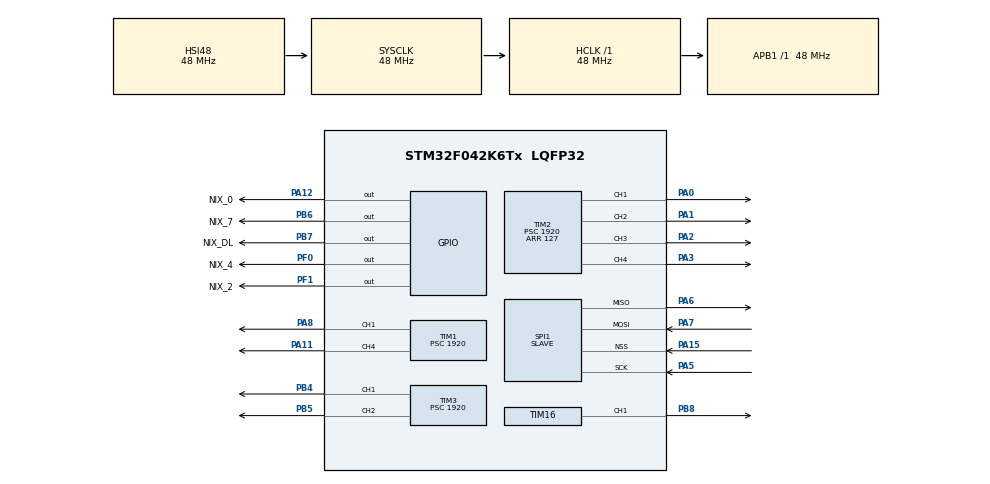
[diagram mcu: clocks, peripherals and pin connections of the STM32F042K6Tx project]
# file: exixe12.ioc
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Dma.Request0=SPI1_RX
Dma.SPI1_RX.0.Direction=DMA_PERIPH_TO_MEMORY
Dma.SPI1_RX.0.Instance=DMA1_Channel2
Dma.SPI1_RX.0.MemDataAlignment=DMA_MDATAALIGN_BYTE
Dma.SPI1_RX.0.MemInc=DMA_MINC_ENABLE
Dma.SPI1_RX.0.Mode=DMA_NORMAL
Dma.SPI1_RX.0.PeriphDataAlignment=DMA_PDATAALIGN_BYTE
Dma.SPI1_RX.0.PeriphInc=DMA_PINC_DISABLE
Dma.SPI1_RX.0.Priority=DMA_PRIORITY_HIGH
Mcu.Family=STM32F0
Mcu.Name=STM32F042K6Tx
Mcu.Package=LQFP32
NVIC.DMA1_Channel2_3_IRQn=true\:0\:0\:false\:false\:true
NVIC.TIM17_IRQn=true\:3\:0\:true\:false\:true
PA0.Signal=S_TIM2_CH1_ETR
PA1.Signal=S_TIM2_CH2
PA11.Signal=S_TIM1_CH4
PA12.GPIO_Label=NIX_0
PA12.Signal=GPIO_Output
PA13.Mode=Serial_Wire
PA13.Signal=SYS_SWDIO
PA14.Mode=Serial_Wire
PA14.Signal=SYS_SWCLK
PA15.Mode=NSS_Signal_Hard_Input
PA15.Signal=SPI1_NSS
PA2.Signal=S_TIM2_CH3
PA3.Signal=S_TIM2_CH4
PA5.Mode=Full_Duplex_Slave
PA5.Signal=SPI1_SCK
PA6.Mode=Full_Duplex_Slave
PA6.Signal=SPI1_MISO
PA7.Mode=Full_Duplex_Slave
PA7.Signal=SPI1_MOSI
PA8.Signal=S_TIM1_CH1
PB4.Signal=S_TIM3_CH1
PB5.Signal=S_TIM3_CH2
PB6.GPIO_Label=NIX_7
PB6.Signal=GPIO_Output
PB7.GPIO_Label=NIX_DL
PB7.Signal=GPIO_Output
PB8.Signal=S_TIM16_CH1
PF0-OSC_IN.GPIO_Label=NIX_4
PF0-OSC_IN.Signal=GPIO_Output
PF1-OSC_OUT.GPIO_Label=NIX_2
PF1-OSC_OUT.Signal=GPIO_Output
ProjectManager.HeapSize=0x200
ProjectManager.StackSize=0x400
ProjectManager.TargetToolchain=MDK-ARM V5
RCC.AHBFreq_Value=48000000
RCC.APB1Freq_Value=48000000
RCC.APB1TimFreq_Value=48000000
RCC.HCLKFreq_Value=48000000
RCC.SYSCLKFreq_VALUE=48000000
RCC.SYSCLKSource=RCC_SYSCLKSOURCE_HSI48
SH.S_TIM16_CH1.0=TIM16_CH1,PWM Generation1 CH1
SH.S_TIM1_CH1.0=TIM1_CH1,PWM Generation1 CH1
SH.S_TIM1_CH4.0=TIM1_CH4,PWM Generation4 CH4
SH.S_TIM2_CH1_ETR.0=TIM2_CH1,PWM Generation1 CH1
SH.S_TIM2_CH2.0=TIM2_CH2,PWM Generation2 CH2
SH.S_TIM2_CH3.0=TIM2_CH3,PWM Generation3 CH3
SH.S_TIM2_CH4.0=TIM2_CH4,PWM Generation4 CH4
SH.S_TIM3_CH1.0=TIM3_CH1,PWM Generation1 CH1
SH.S_TIM3_CH2.0=TIM3_CH2,PWM Generation2 CH2
SPI1.DataSize=SPI_DATASIZE_8BIT
SPI1.Direction=SPI_DIRECTION_2LINES
SPI1.Mode=SPI_MODE_SLAVE
SPI1.VirtualNSS=VM_NSSHARD
SPI1.VirtualType=VM_SLAVE
TIM1.Channel-PWM\ Generation1\ CH1=TIM_CHANNEL_1
TIM1.Channel-PWM\ Generation4\ CH4=TIM_CHANNEL_4
TIM1.Period=127
TIM1.Prescaler=1920
TIM16.Channel=TIM_CHANNEL_1
TIM16.Period=127
TIM16.Prescaler=1920
TIM17.Period=10
TIM17.Prescaler=47
TIM2.Channel-PWM\ Generation1\ CH1=TIM_CHANNEL_1
TIM2.Channel-PWM\ Generation2\ CH2=TIM_CHANNEL_2
TIM2.Channel-PWM\ Generation3\ CH3=TIM_CHANNEL_3
TIM2.Channel-PWM\ Generation4\ CH4=TIM_CHANNEL_4
TIM2.Period=127
TIM2.Prescaler=1920
TIM3.Channel-PWM\ Generation1\ CH1=TIM_CHANNEL_1
TIM3.Channel-PWM\ Generation2\ CH2=TIM_CHANNEL_2
TIM3.Period=127
TIM3.Prescaler=1920
VP_TIM16_VS_ClockSourceINT.Mode=Enable_Timer
VP_TIM17_VS_ClockSourceINT.Mode=Enable_Timer
VP_TIM1_VS_ClockSourceINT.Mode=Internal
VP_TIM2_VS_ClockSourceINT.Mode=Internal
VP_TIM3_VS_ClockSourceINT.Mode=Internal
board=exixe12

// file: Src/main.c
/**
  ******************************************************************************
  * File Name          : main.c
  * Description        : Main program body
  ******************************************************************************
  ** This notice applies to any and all portions of this file
  * that are not between comment pairs USER CODE BEGIN and
  * USER CODE END. Other portions of this file, whether
  * inserted by the user or by software development tools
  * are owned by their respective copyright owners.
  *
  * COPYRIGHT(c) 2017 STMicroelectronics
  *
  * Redistribution and use in source and binary forms, with or without modification,
  * are permitted provided that the following conditions are met:
  *   1. Redistributions of source code must retain the above copyright notice,
  *      this list of conditions and the following disclaimer.
  *   2. Redistributions in binary form must reproduce the above copyright notice,
  *      this list of conditions and the following disclaimer in the documentation
  *      and/or other materials provided with the distribution.
  *   3. Neither the name of STMicroelectronics nor the names of its contributors
  *      may be used to endorse or promote products derived from this software
  *      without specific prior written permission.
  *
  * THIS SOFTWARE IS PROVIDED BY THE COPYRIGHT HOLDERS AND CONTRIBUTORS "AS IS"
  * AND ANY EXPRESS OR IMPLIED WARRANTIES, INCLUDING, BUT NOT LIMITED TO, THE
  * IMPLIED WARRANTIES OF MERCHANTABILITY AND FITNESS FOR A PARTICULAR PURPOSE ARE
  * DISCLAIMED. IN NO EVENT SHALL THE COPYRIGHT HOLDER OR CONTRIBUTORS BE LIABLE
  * FOR ANY DIRECT, INDIRECT, INCIDENTAL, SPECIAL, EXEMPLARY, OR CONSEQUENTIAL
  * DAMAGES (INCLUDING, BUT NOT LIMITED TO, PROCUREMENT OF SUBSTITUTE GOODS OR
  * SERVICES; LOSS OF USE, DATA, OR PROFITS; OR BUSINESS INTERRUPTION) HOWEVER
  * CAUSED AND ON ANY THEORY OF LIABILITY, WHETHER IN CONTRACT, STRICT LIABILITY,
  * OR TORT (INCLUDING NEGLIGENCE OR OTHERWISE) ARISING IN ANY WAY OUT OF THE USE
  * OF THIS SOFTWARE, EVEN IF ADVISED OF THE POSSIBILITY OF SUCH DAMAGE.
  *
  ******************************************************************************
  */
#include "main.h"
#include "stm32f0xx_hal.h"

/* USER CODE BEGIN Includes */
#include "shared.h"
#include "helpers.h"
/* USER CODE END Includes */

SPI_HandleTypeDef hspi1;
DMA_HandleTypeDef hdma_spi1_rx;

TIM_HandleTypeDef htim1;
TIM_HandleTypeDef htim2;
TIM_HandleTypeDef htim3;
TIM_HandleTypeDef htim16;
TIM_HandleTypeDef htim17;

/* USER CODE BEGIN PV */
/* Private variables ---------------------------------------------------------*/
uint32_t pwm_soft_counter;
/* USER CODE END PV */

void SystemClock_Config(void);
static void MX_GPIO_Init(void);
static void MX_DMA_Init(void);
static void MX_SPI1_Init(void);
static void MX_TIM1_Init(void);
static void MX_TIM2_Init(void);
static void MX_TIM3_Init(void);
static void MX_TIM16_Init(void);
static void MX_TIM17_Init(void);

void HAL_TIM_MspPostInit(TIM_HandleTypeDef *htim);

/* USER CODE BEGIN PFP */
/* Private function prototypes -----------------------------------------------*/

/* USER CODE END PFP */

int main(void)
{

  /* MCU Configuration----------------------------------------------------------*/

  /* Reset of all peripherals, Initializes the Flash interface and the Systick. */
  HAL_Init();

  /* Configure the system clock */
  SystemClock_Config();

  /* Initialize all configured peripherals */
  MX_GPIO_Init();
  MX_DMA_Init();
  MX_SPI1_Init();
  MX_TIM1_Init();
  MX_TIM2_Init();
  MX_TIM3_Init();
  MX_TIM16_Init();
  MX_TIM17_Init();

  /* Infinite loop */
  /* USER CODE BEGIN WHILE */
  timer_init();
  HAL_TIM_Base_Start(&htim17);
  HAL_TIM_Base_Start_IT(&htim17);
  HAL_Delay(10);
  while (1)
  {
    if(HAL_GPIO_ReadPin(GPIOA, GPIO_PIN_15) == GPIO_PIN_SET)
      HAL_SPI_Receive_DMA(&hspi1, spi_recv_buf, SPI_BUF_SIZE);
  /* USER CODE END WHILE */

  /* USER CODE BEGIN 3 */
    if(pwm_soft_counter < soft_pwm_stat[10])
      HAL_GPIO_WritePin(NIX_0_GPIO_Port, NIX_0_Pin, GPIO_PIN_SET);
    else
      HAL_GPIO_WritePin(NIX_0_GPIO_Port, NIX_0_Pin, GPIO_PIN_RESET);

    if(pwm_soft_counter < soft_pwm_stat[7])
      HAL_GPIO_WritePin(NIX_7_GPIO_Port, NIX_7_Pin, GPIO_PIN_SET);
    else
      HAL_GPIO_WritePin(NIX_7_GPIO_Port, NIX_7_Pin, GPIO_PIN_RESET);

    if(pwm_soft_counter < soft_pwm_stat[4])
      HAL_GPIO_WritePin(NIX_4_GPIO_Port, NIX_4_Pin, GPIO_PIN_SET);
    else
      HAL_GPIO_WritePin(NIX_4_GPIO_Port, NIX_4_Pin, GPIO_PIN_RESET);

    if(pwm_soft_counter < soft_pwm_stat[2])
      HAL_GPIO_WritePin(NIX_2_GPIO_Port, NIX_2_Pin, GPIO_PIN_SET);
    else
      HAL_GPIO_WritePin(NIX_2_GPIO_Port, NIX_2_Pin, GPIO_PIN_RESET);

    if(pwm_soft_counter < soft_pwm_stat[11])
      HAL_GPIO_WritePin(NIX_DL_GPIO_Port, NIX_DL_Pin, GPIO_PIN_SET);
    else
      HAL_GPIO_WritePin(NIX_DL_GPIO_Port, NIX_DL_Pin, GPIO_PIN_RESET);
  }
  /* USER CODE END 3 */

}

/** System Clock Configuration
*/
void SystemClock_Config(void)
{

  RCC_OscInitTypeDef RCC_OscInitStruct;
  RCC_ClkInitTypeDef RCC_ClkInitStruct;

    /**Initializes the CPU, AHB and APB busses clocks
    */
  RCC_OscInitStruct.OscillatorType = RCC_OSCILLATORTYPE_HSI48;
  RCC_OscInitStruct.HSI48State = RCC_HSI48_ON;
  RCC_OscInitStruct.PLL.PLLState = RCC_PLL_NONE;
  if (HAL_RCC_OscConfig(&RCC_OscInitStruct) != HAL_OK)
  {
    _Error_Handler(__FILE__, __LINE__);
  }

    /**Initializes the CPU, AHB and APB busses clocks
    */
  RCC_ClkInitStruct.ClockType = RCC_CLOCKTYPE_HCLK|RCC_CLOCKTYPE_SYSCLK
                              |RCC_CLOCKTYPE_PCLK1;
  RCC_ClkInitStruct.SYSCLKSource = RCC_SYSCLKSOURCE_HSI48;
  RCC_ClkInitStruct.AHBCLKDivider = RCC_SYSCLK_DIV1;
  RCC_ClkInitStruct.APB1CLKDivider = RCC_HCLK_DIV1;

  if (HAL_RCC_ClockConfig(&RCC_ClkInitStruct, FLASH_LATENCY_1) != HAL_OK)
  {
    _Error_Handler(__FILE__, __LINE__);
  }

    /**Configure the Systick interrupt time
    */
  HAL_SYSTICK_Config(HAL_RCC_GetHCLKFreq()/1000);

    /**Configure the Systick
    */
  HAL_SYSTICK_CLKSourceConfig(SYSTICK_CLKSOURCE_HCLK);

  /* SysTick_IRQn interrupt configuration */
  HAL_NVIC_SetPriority(SysTick_IRQn, 0, 0);
}

/* SPI1 init function */
static void MX_SPI1_Init(void)
{

  hspi1.Instance = SPI1;
  hspi1.Init.Mode = SPI_MODE_SLAVE;
  hspi1.Init.Direction = SPI_DIRECTION_2LINES;
  hspi1.Init.DataSize = SPI_DATASIZE_8BIT;
  hspi1.Init.CLKPolarity = SPI_POLARITY_LOW;
  hspi1.Init.CLKPhase = SPI_PHASE_1EDGE;
  hspi1.Init.NSS = SPI_NSS_HARD_INPUT;
  hspi1.Init.FirstBit = SPI_FIRSTBIT_MSB;
  hspi1.Init.TIMode = SPI_TIMODE_DISABLE;
  hspi1.Init.CRCCalculation = SPI_CRCCALCULATION_DISABLE;
  hspi1.Init.CRCPolynomial = 7;
  hspi1.Init.CRCLength = SPI_CRC_LENGTH_DATASIZE;
  hspi1.Init.NSSPMode = SPI_NSS_PULSE_DISABLE;
  if (HAL_SPI_Init(&hspi1) != HAL_OK)
  {
    _Error_Handler(__FILE__, __LINE__);
  }

}

/* TIM1 init function */
static void MX_TIM1_Init(void)
{

  TIM_ClockConfigTypeDef sClockSourceConfig;
  TIM_MasterConfigTypeDef sMasterConfig;
  TIM_OC_InitTypeDef sConfigOC;
  TIM_BreakDeadTimeConfigTypeDef sBreakDeadTimeConfig;

  htim1.Instance = TIM1;
  htim1.Init.Prescaler = 1920;
  htim1.Init.CounterMode = TIM_COUNTERMODE_UP;
  htim1.Init.Period = 127;
  htim1.Init.ClockDivision = TIM_CLOCKDIVISION_DIV1;
  htim1.Init.RepetitionCounter = 0;
  htim1.Init.AutoReloadPreload = TIM_AUTORELOAD_PRELOAD_DISABLE;
  if (HAL_TIM_Base_Init(&htim1) != HAL_OK)
  {
    _Error_Handler(__FILE__, __LINE__);
  }

  sClockSourceConfig.ClockSource = TIM_CLOCKSOURCE_INTERNAL;
  if (HAL_TIM_ConfigClockSource(&htim1, &sClockSourceConfig) != HAL_OK)
  {
    _Error_Handler(__FILE__, __LINE__);
  }

  if (HAL_TIM_PWM_Init(&htim1) != HAL_OK)
  {
    _Error_Handler(__FILE__, __LINE__);
  }

  sMasterConfig.MasterOutputTrigger = TIM_TRGO_RESET;
  sMasterConfig.MasterSlaveMode = TIM_MASTERSLAVEMODE_DISABLE;
  if (HAL_TIMEx_MasterConfigSynchronization(&htim1, &sMasterConfig) != HAL_OK)
  {
    _Error_Handler(__FILE__, __LINE__);
  }

  sConfigOC.OCMode = TIM_OCMODE_PWM1;
  sConfigOC.Pulse = 0;
  sConfigOC.OCPolarity = TIM_OCPOLARITY_HIGH;
  sConfigOC.OCNPolarity = TIM_OCNPOLARITY_HIGH;
  sConfigOC.OCFastMode = TIM_OCFAST_DISABLE;
  sConfigOC.OCIdleState = TIM_OCIDLESTATE_RESET;
  sConfigOC.OCNIdleState = TIM_OCNIDLESTATE_RESET;
  if (HAL_TIM_PWM_ConfigChannel(&htim1, &sConfigOC, TIM_CHANNEL_1) != HAL_OK)
  {
    _Error_Handler(__FILE__, __LINE__);
  }

  if (HAL_TIM_PWM_ConfigChannel(&htim1, &sConfigOC, TIM_CHANNEL_4) != HAL_OK)
  {
    _Error_Handler(__FILE__, __LINE__);
  }

  sBreakDeadTimeConfig.OffStateRunMode = TIM_OSSR_DISABLE;
  sBreakDeadTimeConfig.OffStateIDLEMode = TIM_OSSI_DISABLE;
  sBreakDeadTimeConfig.LockLevel = TIM_LOCKLEVEL_OFF;
  sBreakDeadTimeConfig.DeadTime = 0;
  sBreakDeadTimeConfig.BreakState = TIM_BREAK_DISABLE;
  sBreakDeadTimeConfig.BreakPolarity = TIM_BREAKPOLARITY_HIGH;
  sBreakDeadTimeConfig.AutomaticOutput = TIM_AUTOMATICOUTPUT_DISABLE;
  if (HAL_TIMEx_ConfigBreakDeadTime(&htim1, &sBreakDeadTimeConfig) != HAL_OK)
  {
    _Error_Handler(__FILE__, __LINE__);
  }

  HAL_TIM_MspPostInit(&htim1);

}

/* TIM2 init function */
static void MX_TIM2_Init(void)
{

  TIM_ClockConfigTypeDef sClockSourceConfig;
  TIM_MasterConfigTypeDef sMasterConfig;
  TIM_OC_InitTypeDef sConfigOC;

  htim2.Instance = TIM2;
  htim2.Init.Prescaler = 1920;
  htim2.Init.CounterMode = TIM_COUNTERMODE_UP;
  htim2.Init.Period = 127;
  htim2.Init.ClockDivision = TIM_CLOCKDIVISION_DIV1;
  htim2.Init.AutoReloadPreload = TIM_AUTORELOAD_PRELOAD_DISABLE;
  if (HAL_TIM_Base_Init(&htim2) != HAL_OK)
  {
    _Error_Handler(__FILE__, __LINE__);
  }

  sClockSourceConfig.ClockSource = TIM_CLOCKSOURCE_INTERNAL;
  if (HAL_TIM_ConfigClockSource(&htim2, &sClockSourceConfig) != HAL_OK)
  {
    _Error_Handler(__FILE__, __LINE__);
  }

  if (HAL_TIM_PWM_Init(&htim2) != HAL_OK)
  {
    _Error_Handler(__FILE__, __LINE__);
  }

  sMasterConfig.MasterOutputTrigger = TIM_TRGO_RESET;
  sMasterConfig.MasterSlaveMode = TIM_MASTERSLAVEMODE_DISABLE;
  if (HAL_TIMEx_MasterConfigSynchronization(&htim2, &sMasterConfig) != HAL_OK)
  {
    _Error_Handler(__FILE__, __LINE__);
  }

  sConfigOC.OCMode = TIM_OCMODE_PWM1;
  sConfigOC.Pulse = 0;
  sConfigOC.OCPolarity = TIM_OCPOLARITY_HIGH;
  sConfigOC.OCFastMode = TIM_OCFAST_DISABLE;
  if (HAL_TIM_PWM_ConfigChannel(&htim2, &sConfigOC, TIM_CHANNEL_1) != HAL_OK)
  {
    _Error_Handler(__FILE__, __LINE__);
  }

  if (HAL_TIM_PWM_ConfigChannel(&htim2, &sConfigOC, TIM_CHANNEL_2) != HAL_OK)
  {
    _Error_Handler(__FILE__, __LINE__);
  }

  if (HAL_TIM_PWM_ConfigChannel(&htim2, &sConfigOC, TIM_CHANNEL_3) != HAL_OK)
  {
    _Error_Handler(__FILE__, __LINE__);
  }

  if (HAL_TIM_PWM_ConfigChannel(&htim2, &sConfigOC, TIM_CHANNEL_4) != HAL_OK)
  {
    _Error_Handler(__FILE__, __LINE__);
  }

  HAL_TIM_MspPostInit(&htim2);

}

/* TIM3 init function */
static void MX_TIM3_Init(void)
{

  TIM_ClockConfigTypeDef sClockSourceConfig;
  TIM_MasterConfigTypeDef sMasterConfig;
  TIM_OC_InitTypeDef sConfigOC;

  htim3.Instance = TIM3;
  htim3.Init.Prescaler = 1920;
  htim3.Init.CounterMode = TIM_COUNTERMODE_UP;
  htim3.Init.Period = 127;
  htim3.Init.ClockDivision = TIM_CLOCKDIVISION_DIV1;
  htim3.Init.AutoReloadPreload = TIM_AUTORELOAD_PRELOAD_DISABLE;
  if (HAL_TIM_Base_Init(&htim3) != HAL_OK)
  {
    _Error_Handler(__FILE__, __LINE__);
  }

  sClockSourceConfig.ClockSource = TIM_CLOCKSOURCE_INTERNAL;
  if (HAL_TIM_ConfigClockSource(&htim3, &sClockSourceConfig) != HAL_OK)
  {
    _Error_Handler(__FILE__, __LINE__);
  }

  if (HAL_TIM_PWM_Init(&htim3) != HAL_OK)
  {
    _Error_Handler(__FILE__, __LINE__);
  }

  sMasterConfig.MasterOutputTrigger = TIM_TRGO_RESET;
  sMasterConfig.MasterSlaveMode = TIM_MASTERSLAVEMODE_DISABLE;
  if (HAL_TIMEx_MasterConfigSynchronization(&htim3, &sMasterConfig) != HAL_OK)
  {
    _Error_Handler(__FILE__, __LINE__);
  }

  sConfigOC.OCMode = TIM_OCMODE_PWM1;
  sConfigOC.Pulse = 0;
  sConfigOC.OCPolarity = TIM_OCPOLARITY_HIGH;
  sConfigOC.OCFastMode = TIM_OCFAST_DISABLE;
  if (HAL_TIM_PWM_ConfigChannel(&htim3, &sConfigOC, TIM_CHANNEL_1) != HAL_OK)
  {
    _Error_Handler(__FILE__, __LINE__);
  }

  if (HAL_TIM_PWM_ConfigChannel(&htim3, &sConfigOC, TIM_CHANNEL_2) != HAL_OK)
  {
    _Error_Handler(__FILE__, __LINE__);
  }

  HAL_TIM_MspPostInit(&htim3);

}

/* TIM16 init function */
static void MX_TIM16_Init(void)
{

  TIM_OC_InitTypeDef sConfigOC;
  TIM_BreakDeadTimeConfigTypeDef sBreakDeadTimeConfig;

  htim16.Instance = TIM16;
  htim16.Init.Prescaler = 1920;
  htim16.Init.CounterMode = TIM_COUNTERMODE_UP;
  htim16.Init.Period = 127;
  htim16.Init.ClockDivision = TIM_CLOCKDIVISION_DIV1;
  htim16.Init.RepetitionCounter = 0;
  htim16.Init.AutoReloadPreload = TIM_AUTORELOAD_PRELOAD_DISABLE;
  if (HAL_TIM_Base_Init(&htim16) != HAL_OK)
  {
    _Error_Handler(__FILE__, __LINE__);
  }

  if (HAL_TIM_PWM_Init(&htim16) != HAL_OK)
  {
    _Error_Handler(__FILE__, __LINE__);
  }

  sConfigOC.OCMode = TIM_OCMODE_PWM1;
  sConfigOC.Pulse = 0;
  sConfigOC.OCPolarity = TIM_OCPOLARITY_HIGH;
  sConfigOC.OCNPolarity = TIM_OCNPOLARITY_HIGH;
  sConfigOC.OCFastMode = TIM_OCFAST_DISABLE;
  sConfigOC.OCIdleState = TIM_OCIDLESTATE_RESET;
  sConfigOC.OCNIdleState = TIM_OCNIDLESTATE_RESET;
  if (HAL_TIM_PWM_ConfigChannel(&htim16, &sConfigOC, TIM_CHANNEL_1) != HAL_OK)
  {
    _Error_Handler(__FILE__, __LINE__);
  }

  sBreakDeadTimeConfig.OffStateRunMode = TIM_OSSR_DISABLE;
  sBreakDeadTimeConfig.OffStateIDLEMode = TIM_OSSI_DISABLE;
  sBreakDeadTimeConfig.LockLevel = TIM_LOCKLEVEL_OFF;
  sBreakDeadTimeConfig.DeadTime = 0;
  sBreakDeadTimeConfig.BreakState = TIM_BREAK_DISABLE;
  sBreakDeadTimeConfig.BreakPolarity = TIM_BREAKPOLARITY_HIGH;
  sBreakDeadTimeConfig.AutomaticOutput = TIM_AUTOMATICOUTPUT_DISABLE;
  if (HAL_TIMEx_ConfigBreakDeadTime(&htim16, &sBreakDeadTimeConfig) != HAL_OK)
  {
    _Error_Handler(__FILE__, __LINE__);
  }

  HAL_TIM_MspPostInit(&htim16);

}

/* TIM17 init function */
static void MX_TIM17_Init(void)
{

  htim17.Instance = TIM17;
  htim17.Init.Prescaler = 47;
  htim17.Init.CounterMode = TIM_COUNTERMODE_UP;
  htim17.Init.Period = 10;
  htim17.Init.ClockDivision = TIM_CLOCKDIVISION_DIV1;
  htim17.Init.RepetitionCounter = 0;
  htim17.Init.AutoReloadPreload = TIM_AUTORELOAD_PRELOAD_DISABLE;
  if (HAL_TIM_Base_Init(&htim17) != HAL_OK)
  {
    _Error_Handler(__FILE__, __LINE__);
  }

}

static void MX_DMA_Init(void)
{
  /* DMA controller clock enable */
  __HAL_RCC_DMA1_CLK_ENABLE();

  /* DMA interrupt init */
  /* DMA1_Channel2_3_IRQn interrupt configuration */
  HAL_NVIC_SetPriority(DMA1_Channel2_3_IRQn, 0, 0);
  HAL_NVIC_EnableIRQ(DMA1_Channel2_3_IRQn);

}

/** Configure pins as
        * Analog
        * Input
        * Output
        * EVENT_OUT
        * EXTI
*/
static void MX_GPIO_Init(void)
{

  GPIO_InitTypeDef GPIO_InitStruct;

  /* GPIO Ports Clock Enable */
  __HAL_RCC_GPIOF_CLK_ENABLE();
  __HAL_RCC_GPIOA_CLK_ENABLE();
  __HAL_RCC_GPIOB_CLK_ENABLE();

  /*Configure GPIO pin Output Level */
  HAL_GPIO_WritePin(GPIOF, NIX_4_Pin|NIX_2_Pin, GPIO_PIN_RESET);

  /*Configure GPIO pin Output Level */
  HAL_GPIO_WritePin(NIX_0_GPIO_Port, NIX_0_Pin, GPIO_PIN_RESET);

  /*Configure GPIO pin Output Level */
  HAL_GPIO_WritePin(GPIOB, NIX_7_Pin|NIX_DL_Pin, GPIO_PIN_RESET);

  /*Configure GPIO pins : NIX_4_Pin NIX_2_Pin */
  GPIO_InitStruct.Pin = NIX_4_Pin|NIX_2_Pin;
  GPIO_InitStruct.Mode = GPIO_MODE_OUTPUT_PP;
  GPIO_InitStruct.Pull = GPIO_NOPULL;
  GPIO_InitStruct.Speed = GPIO_SPEED_FREQ_LOW;
  HAL_GPIO_Init(GPIOF, &GPIO_InitStruct);

  /*Configure GPIO pin : NIX_0_Pin */
  GPIO_InitStruct.Pin = NIX_0_Pin;
  GPIO_InitStruct.Mode = GPIO_MODE_OUTPUT_PP;
  GPIO_InitStruct.Pull = GPIO_NOPULL;
  GPIO_InitStruct.Speed = GPIO_SPEED_FREQ_LOW;
  HAL_GPIO_Init(NIX_0_GPIO_Port, &GPIO_InitStruct);

  /*Configure GPIO pins : NIX_7_Pin NIX_DL_Pin */
  GPIO_InitStruct.Pin = NIX_7_Pin|NIX_DL_Pin;
  GPIO_InitStruct.Mode = GPIO_MODE_OUTPUT_PP;
  GPIO_InitStruct.Pull = GPIO_NOPULL;
  GPIO_InitStruct.Speed = GPIO_SPEED_FREQ_LOW;
  HAL_GPIO_Init(GPIOB, &GPIO_InitStruct);

}

/* USER CODE BEGIN 4 */
void HAL_SPI_RxCpltCallback(SPI_HandleTypeDef *hspi)
{
  if((spi_recv_buf[0] & 0xfe) != SPI_CMD_UPDATE)
    HAL_NVIC_SystemReset();
  set_pwm(spi_recv_buf);
  HAL_SPI_Receive_DMA(&hspi1, spi_recv_buf, SPI_BUF_SIZE);
}

void HAL_TIM_PeriodElapsedCallback(TIM_HandleTypeDef *htim)
{
  pwm_soft_counter = (pwm_soft_counter + 1) & 0x7f;
}
/* USER CODE END 4 */

void _Error_Handler(char * file, int line)
{
  while(1)
  {
  }
}

/************************ (C) COPYRIGHT STMicroelectronics *****END OF FILE****/
